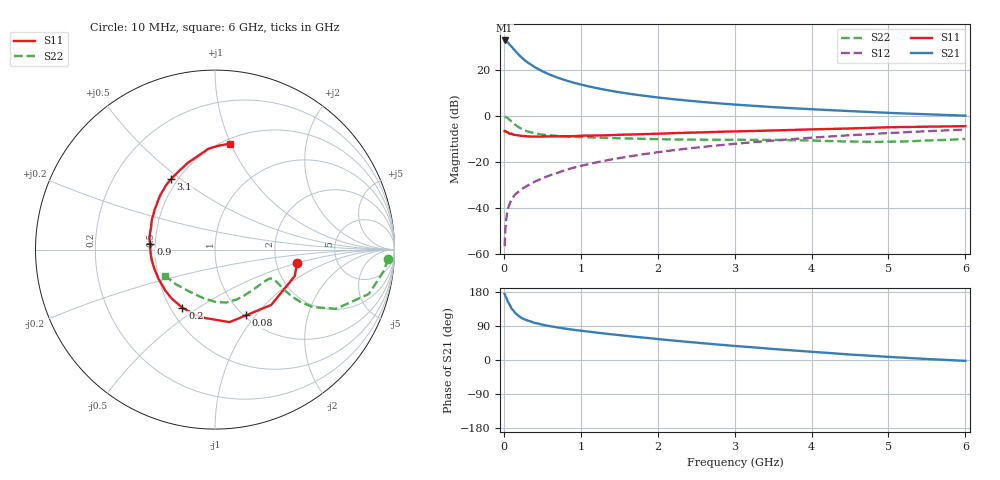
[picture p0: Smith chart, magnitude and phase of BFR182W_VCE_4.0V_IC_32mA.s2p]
! Infineon Technologies  Discrete & RF Semiconductors
! BFR182W
! VCE =  4.0 V,  IC =  32 mA
! Common Emitter S-Parameters:  Jan 2017
# GHz  S  MA  R  50
!  f  S11  S21  S12  S22
! GHz  MAG  ANG  MAG  ANG  MAG  ANG  MAG  ANG
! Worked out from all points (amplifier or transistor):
!   77 points, 10 MHz to 6 GHz, reference 50 ohm
!   highest |S21| = 32.6 dB at 10 MHz (marker M1)
!   |S21| within 3 dB of that: start of sweep to 109 MHz
!   unconditionally stable (mu >= 1): 573.1 MHz to 2.238 GHz
!   at 130 MHz: K = 0.52, MSG = 31.8 dB, |S12| = -34.8 dB
!   at 2.2 GHz: K = 1.00, MAG = 10.7 dB, |S12| = -15.0 dB
!   at 6 GHz: K = 0.86, MSG = 3.0 dB, |S12| = -6.0 dB
!   S11 on the Smith chart (normalised r, x): 10 MHz: 2.62, -0.50; 80 MHz: 1.03, -0.90; 200 MHz: 0.57, -0.43; 900 MHz: 0.47, +0.03; 3.1 GHz: 0.46, +0.46; 6 GHz: 0.54, +0.99
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0.01  0.4638 -9.2  42.7 174.3  0.0015 81.0  0.9643 -3.0
0.02  0.4681 -18.4  42.51 169.3  0.0036 90.9  0.951 -6.8
0.05  0.4395 -44.5  39 154.6  0.0093 73.8  0.892 -16.1
0.08  0.4051 -64.5  34.02 144.3  0.0128 69.7  0.804 -21.7
0.1  0.4122 -78.6  31.47 135.8  0.0152 68.0  0.7503 -26.1
0.15  0.3855 -102.5  25.08 123.5  0.0201 64.0  0.6332 -30.4
0.2  0.3717 -119.2  20.41 115.1  0.023 65.3  0.5541 -31.5
0.25  0.3639 -131.6  17.09 108.9  0.0269 64.5  0.5006 -31.3
0.3  0.3588 -140.6  14.59 104.6  0.0302 66.3  0.4623 -30.6
0.4  0.354 -153.3  11.32 98.0  0.0372 67.8  0.4178 -29.0
0.5  0.354 -162.6  9.177 93.2  0.0443 69.8  0.3916 -27.8
0.6  0.3569 -169.7  7.739 89.2  0.0513 70.9  0.3756 -27.1
0.7  0.3588 -175.3  6.674 85.9  0.0581 72.3  0.3647 -26.7
0.9  0.3616 175.2  5.24 79.9  0.0744 72.6  0.3507 -27.3
1.1  0.3722 168.0  4.34 74.9  0.0895 73.1  0.3411 -28.9
1.3  0.3763 161.4  3.698 70.1  0.1051 72.4  0.3332 -31.0
1.5  0.3864 156.1  3.235 65.7  0.121 72.0  0.3257 -33.8
2.1  0.4135 141.3  2.389 53.4  0.1705 68.6  0.309 -45.4
3.1  0.4619 122.1  1.704 35.6  0.2555 61.1  0.3015 -68.8
4.1  0.5111 105.7  1.359 20.3  0.3435 51.9  0.2873 -92.4
5.1  0.5664 92.4  1.139 7.1  0.43 41.7  0.2754 -125.1
6  0.596 82.1  1.005 -2.3  0.5021 32.0  0.3139 -152.4
